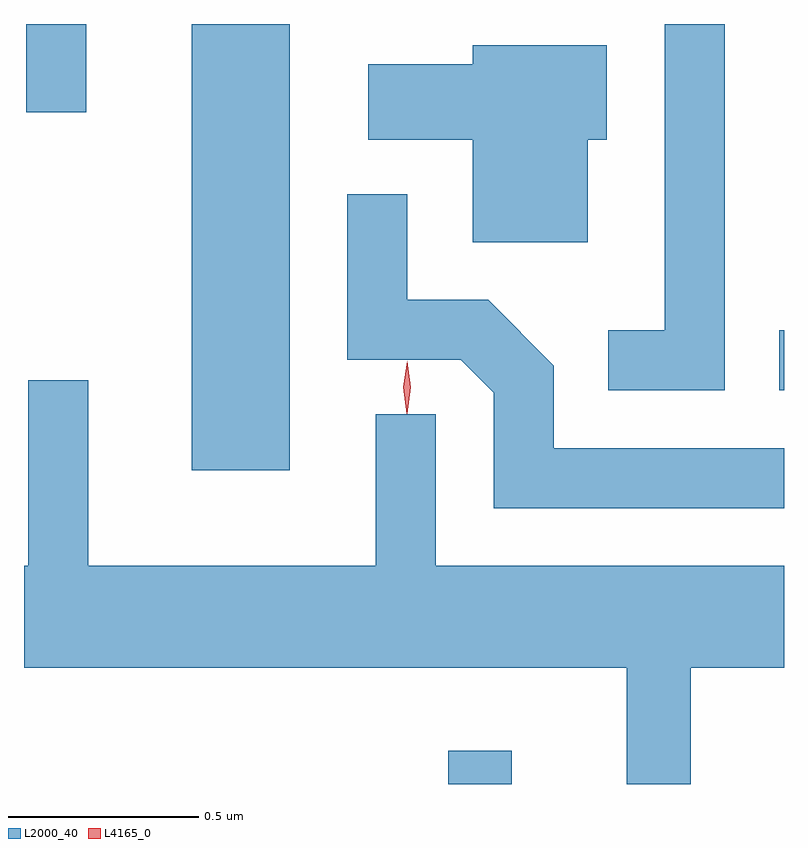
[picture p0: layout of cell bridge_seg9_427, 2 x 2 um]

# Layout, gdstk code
import gdstk
lib = gdstk.Library(unit=1e-6, precision=1e-09)
def R(c, l, rs):  # rectangles x0, y0, x1, y1
    for r in rs: c.add(gdstk.rectangle(r[:2], r[2:], *l))
def P(c, l, *ps):  # polygons
    for p in ps: c.add(gdstk.Polygon(p, *l))
L2000_40 = (2000, 40)
L4165_0 = (4165, 0)

bridge_seg9_427 = lib.new_cell('bridge_seg9_427')
R(bridge_seg9_427, L2000_40, [(478.981,2053.67,479.149,2053.758), (478.306,2054.496,478.564,2055.67), (479.853,2054.706,479.865,2054.864), (477.871,2055.438,478.029,2055.67)])
P(bridge_seg9_427, L2000_40, [(479.709,2055.67),(479.551,2055.67),(479.551,2054.864),(479.403,2054.864),(479.403,2054.706),(479.709,2054.706)],
  [(479.349,2055.366),(479.399,2055.366),(479.399,2055.614),(479.046,2055.614),(479.046,2055.564),(478.771,2055.564),(478.771,2055.366),(479.046,2055.366),(479.046,2055.096),(479.349,2055.096)],
  [(479.865,2054.554),(479.259,2054.554),(479.259,2054.771),(479.087,2054.944),(478.874,2054.944),(478.874,2055.222),(478.716,2055.222),(478.716,2054.786),(479.014,2054.786),(479.101,2054.699),(479.101,2054.396),(479.865,2054.396)],
  [(479.619,2053.976),(479.865,2053.976),(479.865,2054.244),(478.949,2054.244),(478.949,2054.643),(478.791,2054.643),(478.791,2054.244),(478.034,2054.244),(478.034,2054.733),(477.876,2054.733),(477.876,2054.244),(477.865,2054.244),(477.865,2053.976),(479.451,2053.976),(479.451,2053.67),(479.619,2053.67)])
P(bridge_seg9_427, L4165_0, [(478.872,2054.647),(478.872,2054.648),(478.863,2054.714),(478.873,2054.78),(478.874,2054.781),(478.874,2054.78),(478.883,2054.714),(478.873,2054.648)],
  [(478.872,2054.644),(478.872,2054.645),(478.863,2054.714),(478.873,2054.783),(478.874,2054.783),(478.874,2054.783),(478.883,2054.714),(478.873,2054.645)])

lib.write_gds('bridge_seg9_427.gds')
